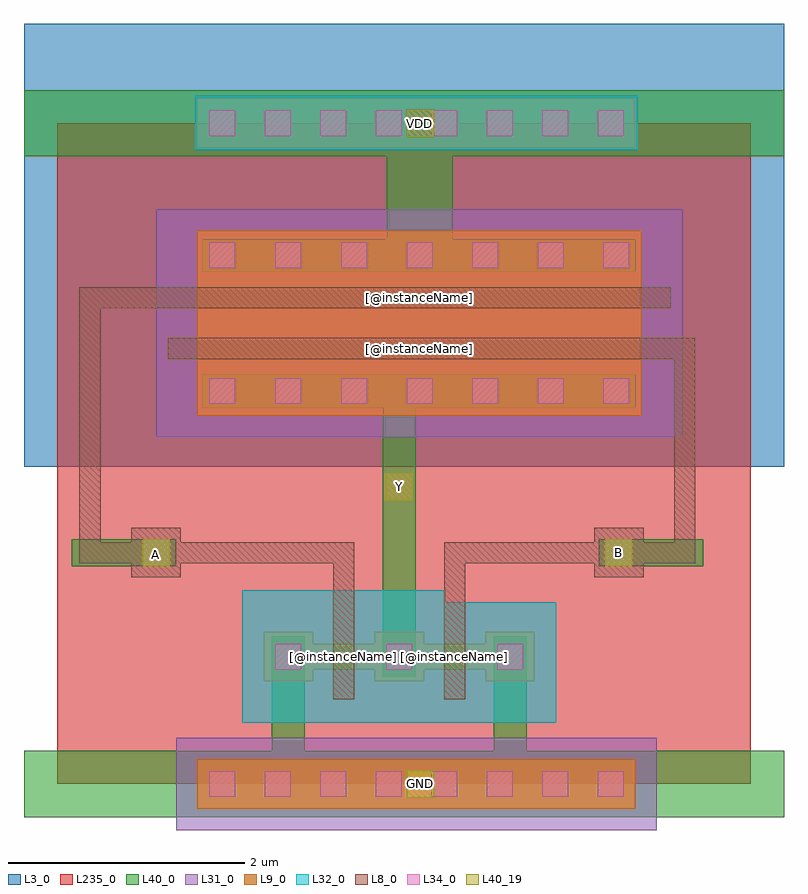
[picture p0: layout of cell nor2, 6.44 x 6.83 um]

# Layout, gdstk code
import gdstk
lib = gdstk.Library(unit=1e-6, precision=1e-09)
def R(c, l, rs):  # rectangles x0, y0, x1, y1
    for r in rs: c.add(gdstk.rectangle(r[:2], r[2:], *l))
def A(c, l, x, y, w, h, nx, ny, dx, dy):  # array of equal rectangles
    R(c, l, [(x+i*dx, y+j*dy, x+i*dx+w, y+j*dy+h) for i in range(nx) for j in range(ny)])
L3_0 = (3, 0)
L8_0 = (8, 0)
L9_0 = (9, 0)
L31_0 = (31, 0)
L32_0 = (32, 0)
L34_0 = (34, 0)
L40_0 = (40, 0)
L40_19 = (40, 19)
L235_0 = (235, 0)

m1_po_4x_cdns_7781481722 = lib.new_cell('M1_PO_4X_CDNS_778148172220')
R(m1_po_4x_cdns_7781481722, L8_0, [(-0.21,-0.21,0.21,0.21)])
R(m1_po_4x_cdns_7781481722, L34_0, [(-0.11,-0.11,0.11,0.11)])
R(m1_po_4x_cdns_7781481722, L40_0, [(-0.17,-0.115,0.17,0.115)])

m1_wn_cdns_778148172221 = lib.new_cell('M1_WN_CDNS_778148172221')
R(m1_wn_cdns_778148172221, L3_0, [(-2.035,-0.43,2.035,0.43)])
R(m1_wn_cdns_778148172221, L9_0, [(-1.855,-0.21,1.855,0.21)])
R(m1_wn_cdns_778148172221, L32_0, [(-1.875,-0.23,1.875,0.23)])
A(m1_wn_cdns_778148172221, L34_0, -1.755, -0.11, 0.22, 0.22, 8, 1, 0.47, 0)
R(m1_wn_cdns_778148172221, L40_0, [(-1.815,-0.17,1.815,0.17)])

ptap_lg_cdns_77814817222 = lib.new_cell('PTAP_LG_CDNS_778148172222')
R(ptap_lg_cdns_77814817222, L9_0, [(-1.855,-0.21,1.855,0.21)])
R(ptap_lg_cdns_77814817222, L31_0, [(-2.035,-0.39,2.035,0.39)])
A(ptap_lg_cdns_77814817222, L34_0, -1.755, -0.11, 0.22, 0.22, 8, 1, 0.47, 0)
R(ptap_lg_cdns_77814817222, L40_0, [(-1.815,-0.17,1.815,0.17)])

nor2 = lib.new_cell('nor2')
R(nor2, L3_0, [(-0.28,2.69,6.16,6.44), (0.76,2.69,5.38,4.335), (0.76,3.475,5.38,5.12)])
R(nor2, L8_0, [(2.34,0.72,2.52,0.97), (3.28,0.72,3.46,0.97), (2.34,0.97,2.52,1.19), (3.28,0.97,3.46,1.19), (2.34,1.19,2.52,1.44), (3.28,1.19,3.46,1.44), (0.94,3.6,1.19,3.78), (1.19,3.6,4.95,3.78), (4.95,3.6,5.2,3.78), (0.94,4.03,1.19,4.21), (1.19,4.03,4.95,4.21), (4.95,4.03,5.2,4.21)])
A(nor2, L9_0, 1.75, 0.87, 0.42, 0.42, 3, 1, 0.94, 0)
R(nor2, L9_0, [(2.17,0.97,2.34,1.19), (2.34,0.97,2.52,1.19), (2.52,0.97,2.69,1.19), (3.11,0.97,3.28,1.19), (3.28,0.97,3.46,1.19), (3.46,0.97,3.63,1.19), (1.19,3.12,4.95,3.6), (1.19,3.6,4.95,3.78), (1.19,3.78,4.95,3.905), (1.19,3.905,4.95,4.03), (1.19,4.03,4.95,4.21), (1.19,4.21,4.95,4.69)])
R(nor2, L31_0, [(0.84,2.94,5.3,4.085), (0.84,3.725,5.3,4.87)])
R(nor2, L32_0, [(1.57,0.52,3.29,1.64), (2.93,0.52,4.23,1.54)])
A(nor2, L34_0, 1.85, 0.97, 0.22, 0.22, 3, 1, 0.94, 0)
A(nor2, L34_0, 1.29, 3.22, 0.22, 0.22, 3, 2, 0.56, 1.15)
A(nor2, L34_0, 2.965, 3.22, 0.22, 0.22, 4, 2, 0.555, 1.15)
A(nor2, L40_0, 1.82, 0.91, 0.28, 0.34, 3, 1, 0.94, 0)
R(nor2, L40_0, [(-0.28,-0.28,6.16,0.28), (1.23,3.19,4.91,3.47), (1.23,4.34,4.91,4.62), (-0.28,5.32,6.16,5.88)])
R(nor2, L40_19, [(2.965,-0.115,3.195,0.115), (0.725,1.845,0.955,2.075), (4.645,1.845,4.875,2.075), (2.785,2.405,3.015,2.635), (2.965,5.485,3.195,5.715)])
R(nor2, L235_0, [(0,0,5.88,5.6)])
nor2.add(gdstk.FlexPath([(4.76,1.96),(5.475,1.96)], 0.23, ends="flush", simple_path=True, layer=40, datatype=0))  # L40_0
nor2.add(gdstk.FlexPath([(0.84,1.96),(0.125,1.96)], 0.23, ends="flush", simple_path=True, layer=40, datatype=0))  # L40_0
nor2.add(gdstk.FlexPath([(3.075,5.6),(3.075,4.62)], 0.56, ends=(0.28, 0), simple_path=True, layer=40, datatype=0))  # L40_0
nor2.add(gdstk.FlexPath([(3.84,1.25),(3.84,-0.28)], 0.28, ends="flush", simple_path=True, layer=40, datatype=0))  # L40_0
nor2.add(gdstk.FlexPath([(1.96,1.25),(1.96,-0.28)], 0.28, ends="flush", simple_path=True, layer=40, datatype=0))  # L40_0
nor2.add(gdstk.FlexPath([(2.9,1.25),(2.9,3.47)], 0.28, ends="flush", simple_path=True, layer=40, datatype=0))  # L40_0
nor2.add(gdstk.FlexPath([(4.76,1.96),(5.32,1.96)], 0.18, ends=(0, 0.09), simple_path=True, layer=8, datatype=0))  # L8_0
nor2.add(gdstk.FlexPath([(0.28,1.96),(0.84,1.96)], 0.18, ends="flush", simple_path=True, layer=8, datatype=0))  # L8_0
nor2.add(gdstk.FlexPath([(5.32,3.69),(5.2,3.69)], 0.18, ends=(0.09, 0), simple_path=True, layer=8, datatype=0))  # L8_0
nor2.add(gdstk.FlexPath([(5.32,1.96),(5.32,3.69)], 0.18, ends="extended", simple_path=True, layer=8, datatype=0))  # L8_0
nor2.add(gdstk.FlexPath([(3.37,1.96),(4.76,1.96)], 0.18, ends=(0.09, 0), simple_path=True, layer=8, datatype=0))  # L8_0
nor2.add(gdstk.FlexPath([(3.37,1.44),(3.37,1.96)], 0.18, ends=(0, 0.09), simple_path=True, layer=8, datatype=0))  # L8_0
nor2.add(gdstk.FlexPath([(2.43,1.96),(2.43,1.44)], 0.18, ends=(0.09, 0), simple_path=True, layer=8, datatype=0))  # L8_0
nor2.add(gdstk.FlexPath([(0.84,1.96),(2.43,1.96)], 0.18, ends=(0, 0.09), simple_path=True, layer=8, datatype=0))  # L8_0
nor2.add(gdstk.FlexPath([(0.28,4.12),(0.28,1.96)], 0.18, ends="extended", simple_path=True, layer=8, datatype=0))  # L8_0
nor2.add(gdstk.FlexPath([(0.94,4.12),(0.28,4.12)], 0.18, ends=(0, 0.09), simple_path=True, layer=8, datatype=0))  # L8_0
nor2.add(gdstk.Reference(m1_po_4x_cdns_7781481722, (4.76,1.96)))
nor2.add(gdstk.Reference(m1_po_4x_cdns_7781481722, (0.84,1.96)))
nor2.add(gdstk.Reference(m1_wn_cdns_778148172221, (3.045,5.6)))
nor2.add(gdstk.Reference(ptap_lg_cdns_77814817222, (3.045,0)))
nor2.add(gdstk.Label('[@instanceName]', (2.43,1.082), layer=77, texttype=7))
nor2.add(gdstk.Label('[@instanceName]', (3.072,4.12), layer=77, texttype=7))
nor2.add(gdstk.Label('[@instanceName]', (3.072,3.69), layer=77, texttype=7))
nor2.add(gdstk.Label('[@instanceName]', (3.37,1.082), layer=77, texttype=7))
nor2.add(gdstk.Label('Y', (2.905,2.52), layer=40, texttype=7))
nor2.add(gdstk.Label('B', (4.76,1.96), layer=40, texttype=7))
nor2.add(gdstk.Label('A', (0.835,1.945), layer=40, texttype=7))
nor2.add(gdstk.Label('GND', (3.08,0.005), layer=40, texttype=7))
nor2.add(gdstk.Label('VDD', (3.07,5.595), layer=40, texttype=7))

lib.write_gds('nor2.gds')
